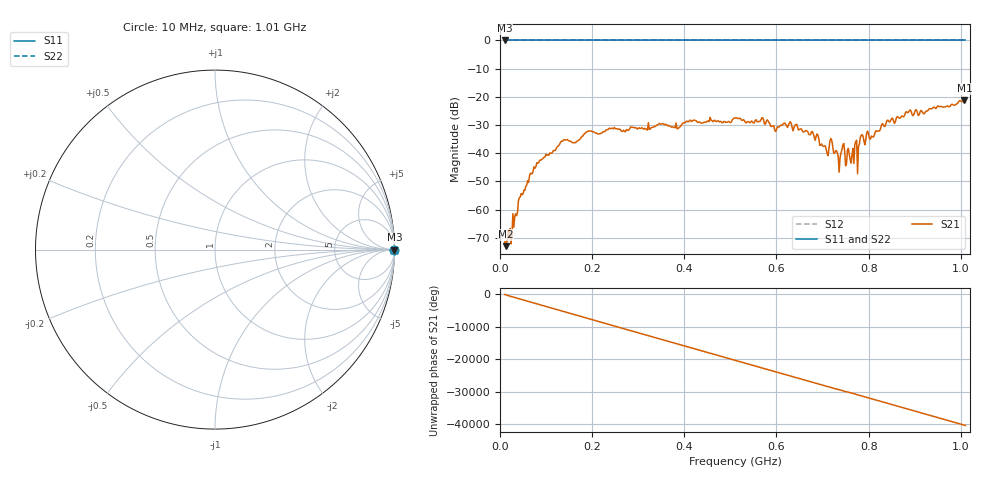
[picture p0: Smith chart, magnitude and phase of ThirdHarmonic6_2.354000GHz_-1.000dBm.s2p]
! 8/17/2025 3:34:15 AM
! C:\ANRITSUVNA\TEMP\TEMP.S2P
! CHANNEL.1
! TR.MEASUREMENT
! RAW.DATA
! RF.CORRECTION.OFF
! AVERAGING.OFF
! IF.BANDWIDTH: 5KHZ
! SWEEPTYPE:  FREQ.SWEEP(Linear)
! Reference Plane Port Info
! PORT:  PORT1  PORT2
! DISTANCE:  0  m  0  m
! TIME:  0  s  0  s
! PHASE.OFFSET:  0  deg.  0  deg.
! LOSS:  0  dB  0  dB
! REF.LOSS:  0  dB  0  dB
! REF.FREQ:  0  Hz  0  Hz
! Power Info
! POWER:  -20  dBm  -20  dBm
! EFF.POWER:  -20  dBm  -20  dBm
! SOURCE.ATTEN:  0  dB  0  dB
! TEST.ATTEN:  0  dB  0  dB
# GHZ S RI R 50.0
! FREQ.GHZ  S11RE  S11IM  S21RE  S21IM  S12RE  S12IM  S22RE  S22IM
!; PortSelection: Port_12
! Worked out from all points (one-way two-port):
!   501 points, 10 MHz to 1.01 GHz, reference 50 ohm
!   highest |S21| = -21.28 dB at 1.008 GHz (marker M1); lowest = -73.0 dB at 12 MHz (marker M2)
!   lowest |S11| = 0.0 dB at 10 MHz (marker M3)
!   |S11| at or under -10 dB: nowhere
!   |S22| runs from 0.0 to 0.0 dB; largest |S21 - S12| = 1.1
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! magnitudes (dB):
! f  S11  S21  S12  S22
! 10 MHz  0.0  -71.5  0.0  0.0
! 12 MHz  0.0  -73.0  0.0  0.0
! 28 MHz  0.0  -61.4  0.0  0.0
! 44 MHz  0.0  -55.5  0.0  0.0
! 78 MHz  0.0  -44.7  0.0  0.0
! 136 MHz  0.0  -35.7  0.0  0.0
! 178 MHz  0.0  -34.0  0.0  0.0
! 344 MHz  0.0  -29.7  0.0  0.0
! 510 MHz  0.0  -27.5  0.0  0.0
! 678 MHz  0.0  -32.3  0.0  0.0
! 708 MHz  0.0  -38.8  0.0  0.0
! 718 MHz  0.0  -34.8  0.0  0.0
! 734 MHz  0.0  -41.1  0.0  0.0
! 744 MHz  0.0  -37.1  0.0  0.0
! 764 MHz  0.0  -40.5  0.0  0.0
! 770 MHz  0.0  -37.0  0.0  0.0
! 780 MHz  0.0  -36.7  0.0  0.0
! 784 MHz  0.0  -33.6  0.0  0.0
! 806 MHz  0.0  -33.9  0.0  0.0
! 844 MHz  0.0  -28.8  0.0  0.0
! 1.008 GHz  0.0  -21.3  0.0  0.0
! 1.01 GHz  0.0  -21.9  0.0  0.0
